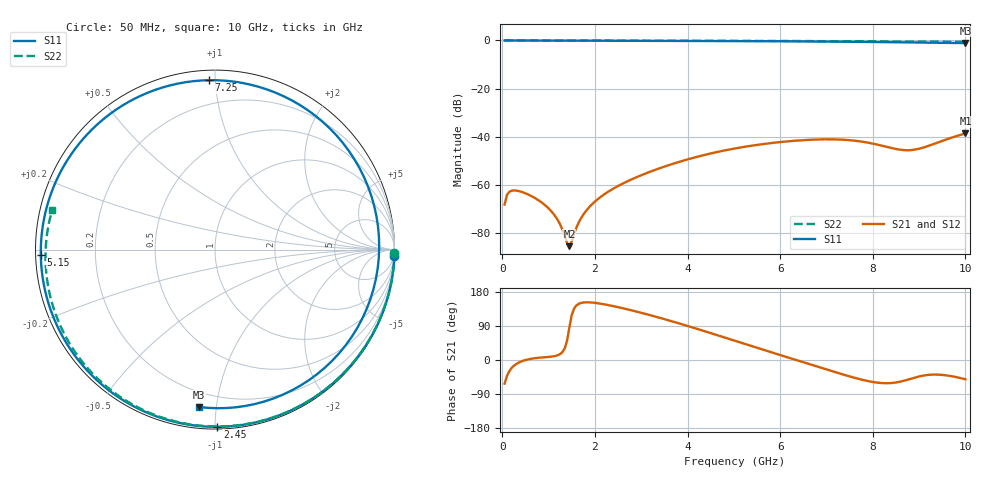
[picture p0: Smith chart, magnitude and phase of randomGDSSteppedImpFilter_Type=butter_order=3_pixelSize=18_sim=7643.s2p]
! freq	dB(S11)	phase(S11)	dB(S12)	phase(S12)
!  dB(S21)	phase(S21)	dB(S22)	phase(S22)
!S-par simulation data
#  GHz  S  DB  R 50
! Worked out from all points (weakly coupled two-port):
!   200 points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, 50 MHz to 10 GHz, reference 50 ohm
!   highest |S21| = -38.59 dB at 10 GHz (marker M1); lowest = -85.3 dB at 1.45 GHz (marker M2)
!   lowest |S11| = -1.1 dB at 10 GHz (marker M3), VSWR 15.88, Z = 5.7 - j44.9 ohm
!   |S11| at or under -10 dB: nowhere
!   |S22| runs from -0.6 to 0.0 dB; largest |S21 - S12| = 0
!   S11 on the Smith chart (normalised r, x): 50 MHz: 0, -60; 2.45 GHz: 0.01, -1.01; 5.15 GHz: 0.01, -0.02; 7.25 GHz: 0.06, +0.96; 10 GHz: 0.11, -0.90
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0.05  -0.00 -1.9  -68.06 -62.3  -68.06 -62.3  -0.00 -1.1
0.1  -0.00 -3.8  -64.12 -42.5  -64.12 -42.5  -0.00 -2.3
0.2  -0.00 -7.7  -62.34 -21.3  -62.34 -21.3  -0.00 -4.6
0.55  -0.02 -21.0  -63.81 1.5  -63.81 1.5  -0.01 -12.5
1  -0.04 -37.8  -69.67 8.1  -69.67 8.1  -0.03 -22.5
1.35  -0.06 -50.7  -81.18 31.2  -81.18 31.2  -0.04 -30.3
1.45  -0.07 -54.3  -85.33 87.0  -85.33 87.0  -0.04 -32.5
1.55  -0.07 -57.9  -80.25 135.7  -80.25 135.7  -0.04 -34.7
1.75  -0.08 -65.0  -72.22 151.7  -72.22 151.7  -0.05 -39.0
2.45  -0.11 -89.2  -60.89 140.8  -60.89 140.8  -0.07 -53.9
3.4  -0.15 -120.6  -52.99 111.3  -52.99 111.3  -0.10 -73.4
5.05  -0.25 -174.7  -44.70 49.6  -44.70 49.6  -0.16 -105.0
5.15  -0.26 -178.2  -44.37 45.7  -44.37 45.7  -0.16 -106.8
5.95  -0.33 152.3  -42.25 15.0  -42.25 15.0  -0.21 -121.2
6.7  -0.42 120.0  -41.15 -13.5  -41.15 -13.5  -0.26 -134.4
7.25  -0.50 92.1  -41.08 -34.2  -41.08 -34.2  -0.30 -144.0
7.8  -0.59 59.5  -42.07 -53.0  -42.07 -53.0  -0.35 -153.6
8.35  -0.70 22.3  -44.37 -61.2  -44.37 -61.2  -0.40 -163.3
8.7  -0.78 -3.0  -45.51 -53.9  -45.51 -53.9  -0.44 -169.5
9.05  -0.87 -28.9  -44.66 -42.1  -44.66 -42.1  -0.48 -175.9
9.55  -0.99 -65.1  -41.31 -40.0  -41.31 -40.0  -0.54 174.9
10  -1.10 -95.8  -38.59 -50.9  -38.59 -50.9  -0.59 166.4
